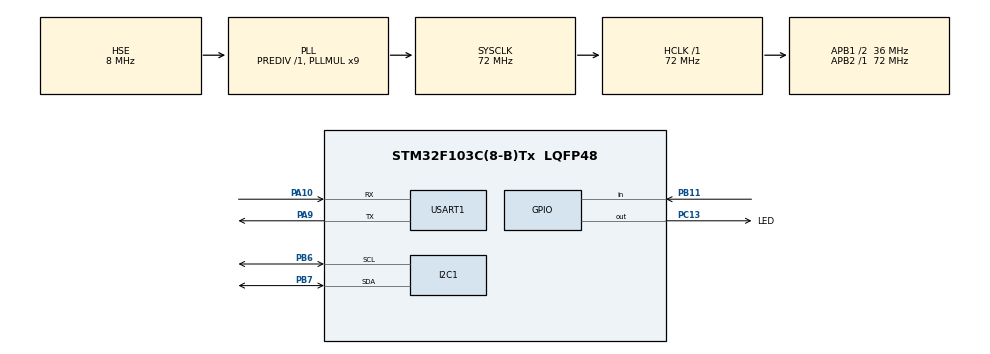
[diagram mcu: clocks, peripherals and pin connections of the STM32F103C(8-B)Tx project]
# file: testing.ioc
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I2C1.I2C_Mode=I2C_Fast
Mcu.Family=STM32F1
Mcu.Name=STM32F103C(8-B)Tx
Mcu.Package=LQFP48
NVIC.PriorityGroup=NVIC_PRIORITYGROUP_4
PA10.Mode=Asynchronous
PA10.Signal=USART1_RX
PA13.Mode=Serial_Wire
PA13.Signal=SYS_JTMS-SWDIO
PA14.Mode=Serial_Wire
PA14.Signal=SYS_JTCK-SWCLK
PA9.Mode=Asynchronous
PA9.Signal=USART1_TX
PB11.Signal=GPIO_Input
PB6.Mode=I2C
PB6.Signal=I2C1_SCL
PB7.Mode=I2C
PB7.Signal=I2C1_SDA
PC13-TAMPER-RTC.GPIO_Label=LED
PC13-TAMPER-RTC.GPIO_Speed=GPIO_SPEED_FREQ_MEDIUM
PC13-TAMPER-RTC.Signal=GPIO_Output
PD0-OSC_IN.Mode=HSE-External-Oscillator
PD0-OSC_IN.Signal=RCC_OSC_IN
PD1-OSC_OUT.Mode=HSE-External-Oscillator
PD1-OSC_OUT.Signal=RCC_OSC_OUT
ProjectManager.HeapSize=0x200
ProjectManager.StackSize=0x400
ProjectManager.TargetToolchain=STM32CubeIDE
RCC.ADCPresc=RCC_ADCPCLK2_DIV6
RCC.AHBFreq_Value=72000000
RCC.APB1CLKDivider=RCC_HCLK_DIV2
RCC.APB1Freq_Value=36000000
RCC.APB1TimFreq_Value=72000000
RCC.APB2Freq_Value=72000000
RCC.APB2TimFreq_Value=72000000
RCC.HCLKFreq_Value=72000000
RCC.PLLMUL=RCC_PLL_MUL9
RCC.PLLSourceVirtual=RCC_PLLSOURCE_HSE
RCC.RTCClockSelection=RCC_RTCCLKSOURCE_LSE
RCC.SYSCLKFreq_VALUE=72000000
RCC.SYSCLKSource=RCC_SYSCLKSOURCE_PLLCLK
RCC.USBFreq_Value=72000000
USART1.VirtualMode=VM_ASYNC
board=custom

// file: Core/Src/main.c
/* USER CODE BEGIN Header */
/**
 ******************************************************************************
 * @file           : main.c
 * @brief          : Main program body
 ******************************************************************************
 * @attention
 *
 * <h2><center>&copy; Copyright (c) 2023 rawello inc.
 * All rights reserved.</center></h2>
 *
 * This software component is licensed by ST under BSD 3-Clause license,
 * the "License"; You may not use this file except in compliance with the
 * License. You may obtain a copy of the License at:
 *                        opensource.org/licenses/BSD-3-Clause
 *
 ******************************************************************************
 */
/* USER CODE END Header */
#include "main.h"

/* USER CODE BEGIN Includes */
#include "fonts.h"
#include "ssd1306.h"
#include "ds18b20.h"

/* USER CODE END Includes */

I2C_HandleTypeDef hi2c1;

UART_HandleTypeDef huart1;

void SystemClock_Config(void);
static void MX_GPIO_Init(void);
static void MX_I2C1_Init(void);
static void MX_USART1_UART_Init(void);

int main(void)
{

  /* MCU Configuration--------------------------------------------------------*/

  /* Reset of all peripherals, Initializes the Flash interface and the Systick. */
  HAL_Init();

  /* Configure the system clock */
  SystemClock_Config();

  /* Initialize all configured peripherals */
  MX_GPIO_Init();
  MX_I2C1_Init();
  MX_USART1_UART_Init();
  /* USER CODE BEGIN 2 */

  char snum[40]; // second
  char mnum[40]; // minute
  char hnum[40]; // hour
  char tnum[40]; // temp

  char str1[40];
  uint8_t status;
  uint8_t dt[8];
  uint16_t raw_temper;
  float temper;
  char c;
  port_init();
  status = ds18b20_init(SKIP_ROM);

  SSD1306_Init();
  SSD1306_GotoXY(10, 10);
  SSD1306_Puts("Temp and Time", &Font_11x18, 1);
  SSD1306_UpdateScreen();

  /* USER CODE END 2 */

  /* Infinite loop */
  while (1)
  {

    /* USER CODE BEGIN 3 */
    int h = 0;
    int m = 0;
    for (int x = 0; x <= 60000; x++)
    {
      ds18b20_MeasureTemperCmd(SKIP_ROM, 0);
      ds18b20_ReadStratcpad(SKIP_ROM, dt, 0);
      raw_temper = ((uint16_t)dt[1] << 8) | dt[0];

      if (ds18b20_GetSign(raw_temper))
        c = '-';
      else
        c = '+';
      temper = ds18b20_Convert(raw_temper);

      SSD1306_GotoXY(40, 40);
      SSD1306_UpdateScreen();
      itoa(temper, tnum, 10);

      HAL_GPIO_WritePin(LED_GPIO_Port, LED_Pin, GPIO_PIN_SET);
      if (x == 60)
      {
        m = m + 1;
        if (m == 60)
        {
          h += 1;
          if (h == 24)
          {
            x = 0;
            m = 0;
            h = 0;
          }
          m = 0;
        }
        x = 0;
      }
      SSD1306_Clear();
      itoa(x, snum, 10);
      itoa(m, mnum, 10);
      itoa(h, hnum, 10);
      SSD1306_GotoXY(15, 45);
      SSD1306_Puts(hnum, &Font_11x18, 1);
      SSD1306_GotoXY(50, 45);
      SSD1306_Puts(mnum, &Font_11x18, 1);
      SSD1306_GotoXY(85, 45);
      SSD1306_Puts(snum, &Font_11x18, 1);
      SSD1306_UpdateScreen();
      SSD1306_Putc(tnum, &Font_16x26, 1);
      SSD1306_UpdateScreen();
      HAL_GPIO_WritePin(LED_GPIO_Port, LED_Pin, GPIO_PIN_RESET);
      HAL_Delay(935);
    }
  }
  /* USER CODE END 3 */
}

void SystemClock_Config(void)
{
  RCC_OscInitTypeDef RCC_OscInitStruct = {0};
  RCC_ClkInitTypeDef RCC_ClkInitStruct = {0};

  /** Initializes the RCC Oscillators according to the specified parameters
   * in the RCC_OscInitTypeDef structure.
   */
  RCC_OscInitStruct.OscillatorType = RCC_OSCILLATORTYPE_HSE;
  RCC_OscInitStruct.HSEState = RCC_HSE_ON;
  RCC_OscInitStruct.HSEPredivValue = RCC_HSE_PREDIV_DIV1;
  RCC_OscInitStruct.HSIState = RCC_HSI_ON;
  RCC_OscInitStruct.PLL.PLLState = RCC_PLL_ON;
  RCC_OscInitStruct.PLL.PLLSource = RCC_PLLSOURCE_HSE;
  RCC_OscInitStruct.PLL.PLLMUL = RCC_PLL_MUL9;
  if (HAL_RCC_OscConfig(&RCC_OscInitStruct) != HAL_OK)
  {
    Error_Handler();
  }

  /** Initializes the CPU, AHB and APB buses clocks
   */
  RCC_ClkInitStruct.ClockType = RCC_CLOCKTYPE_HCLK | RCC_CLOCKTYPE_SYSCLK | RCC_CLOCKTYPE_PCLK1 | RCC_CLOCKTYPE_PCLK2;
  RCC_ClkInitStruct.SYSCLKSource = RCC_SYSCLKSOURCE_PLLCLK;
  RCC_ClkInitStruct.AHBCLKDivider = RCC_SYSCLK_DIV1;
  RCC_ClkInitStruct.APB1CLKDivider = RCC_HCLK_DIV2;
  RCC_ClkInitStruct.APB2CLKDivider = RCC_HCLK_DIV1;

  if (HAL_RCC_ClockConfig(&RCC_ClkInitStruct, FLASH_LATENCY_2) != HAL_OK)
  {
    Error_Handler();
  }
}

static void MX_I2C1_Init(void)
{

  hi2c1.Instance = I2C1;
  hi2c1.Init.ClockSpeed = 400000;
  hi2c1.Init.DutyCycle = I2C_DUTYCYCLE_2;
  hi2c1.Init.OwnAddress1 = 0;
  hi2c1.Init.AddressingMode = I2C_ADDRESSINGMODE_7BIT;
  hi2c1.Init.DualAddressMode = I2C_DUALADDRESS_DISABLE;
  hi2c1.Init.OwnAddress2 = 0;
  hi2c1.Init.GeneralCallMode = I2C_GENERALCALL_DISABLE;
  hi2c1.Init.NoStretchMode = I2C_NOSTRETCH_DISABLE;
  if (HAL_I2C_Init(&hi2c1) != HAL_OK)
  {
    Error_Handler();
  }
}

static void MX_USART1_UART_Init(void)
{

  huart1.Instance = USART1;
  huart1.Init.BaudRate = 115200;
  huart1.Init.WordLength = UART_WORDLENGTH_8B;
  huart1.Init.StopBits = UART_STOPBITS_1;
  huart1.Init.Parity = UART_PARITY_NONE;
  huart1.Init.Mode = UART_MODE_TX_RX;
  huart1.Init.HwFlowCtl = UART_HWCONTROL_NONE;
  huart1.Init.OverSampling = UART_OVERSAMPLING_16;
  if (HAL_UART_Init(&huart1) != HAL_OK)
  {
    Error_Handler();
  }
}

static void MX_GPIO_Init(void)
{
  GPIO_InitTypeDef GPIO_InitStruct = {0};

  /* GPIO Ports Clock Enable */
  __HAL_RCC_GPIOC_CLK_ENABLE();
  __HAL_RCC_GPIOD_CLK_ENABLE();
  __HAL_RCC_GPIOB_CLK_ENABLE();
  __HAL_RCC_GPIOA_CLK_ENABLE();

  /*Configure GPIO pin Output Level */
  HAL_GPIO_WritePin(LED_GPIO_Port, LED_Pin, GPIO_PIN_RESET);

  /*Configure GPIO pin : LED_Pin */
  GPIO_InitStruct.Pin = LED_Pin;
  GPIO_InitStruct.Mode = GPIO_MODE_OUTPUT_PP;
  GPIO_InitStruct.Pull = GPIO_NOPULL;
  GPIO_InitStruct.Speed = GPIO_SPEED_FREQ_MEDIUM;
  HAL_GPIO_Init(LED_GPIO_Port, &GPIO_InitStruct);

  /*Configure GPIO pin : PB11 */
  GPIO_InitStruct.Pin = GPIO_PIN_11;
  GPIO_InitStruct.Mode = GPIO_MODE_INPUT;
  GPIO_InitStruct.Pull = GPIO_NOPULL;
  HAL_GPIO_Init(GPIOB, &GPIO_InitStruct);

}

void Error_Handler(void)
{
  __disable_irq();
  while (1)
  {
  }
}
